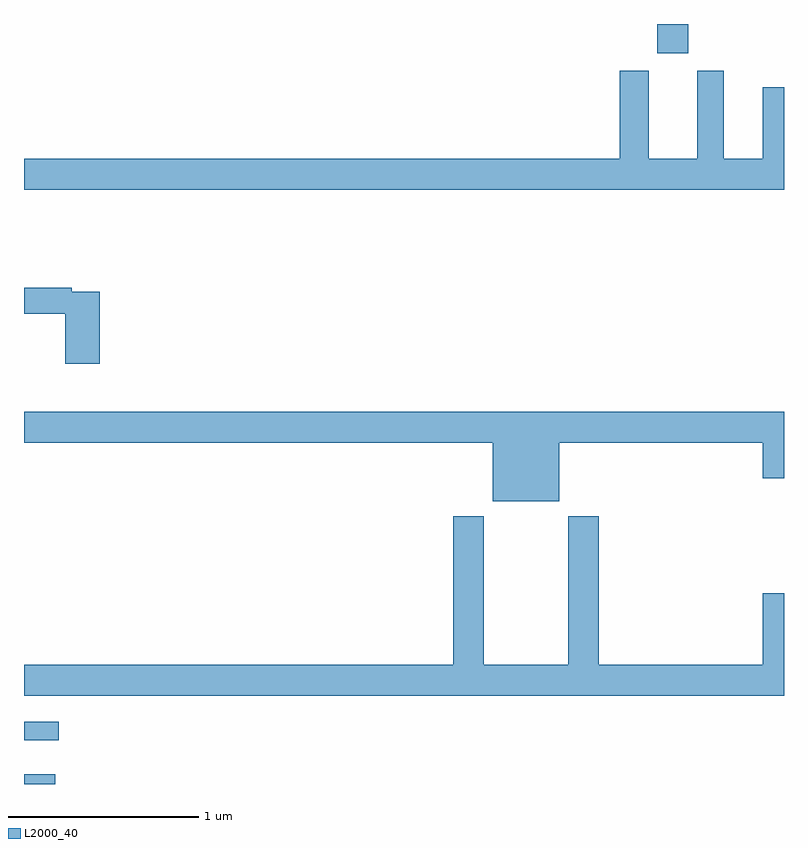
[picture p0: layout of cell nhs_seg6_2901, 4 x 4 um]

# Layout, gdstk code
import gdstk
lib = gdstk.Library(unit=1e-6, precision=1e-09)
def R(c, l, rs):  # rectangles x0, y0, x1, y1
    for r in rs: c.add(gdstk.rectangle(r[:2], r[2:], *l))
def P(c, l, *ps):  # polygons
    for p in ps: c.add(gdstk.Polygon(p, *l))
L2000_40 = (2000, 40)

nhs_seg6_2901 = lib.new_cell('nhs_seg6_2901')
R(nhs_seg6_2901, L2000_40, [(281,985.5,281.164,985.552), (281,985.731,281.182,985.828), (284.333,989.346,284.497,989.5)])
P(nhs_seg6_2901, L2000_40, [(285,989.167),(284.888,989.167),(284.888,988.792),(284.683,988.792),(284.683,989.254),(284.543,989.254),(284.543,988.792),(284.287,988.792),(284.287,989.254),(284.135,989.254),(284.135,988.792),(281,988.792),(281,988.628),(285,988.628)],
  [(281.399,988.092),(281.252,988.092),(281.252,988.112),(281,988.112),(281,987.976),(281.216,987.976),(281.216,987.711),(281.399,987.711)],
  [(283.816,987.296),(284.888,987.296),(284.888,987.108),(285,987.108),(285,987.46),(281,987.46),(281,987.296),(283.466,987.296),(283.466,986.987),(283.816,986.987)],
  [(285,986.503),(284.888,986.503),(284.888,986.128),(284.024,986.128),(284.024,986.908),(283.864,986.908),(283.864,986.128),(283.419,986.128),(283.419,986.908),(283.259,986.908),(283.259,986.128),(281,986.128),(281,985.964),(285,985.964)])

lib.write_gds('nhs_seg6_2901.gds')
